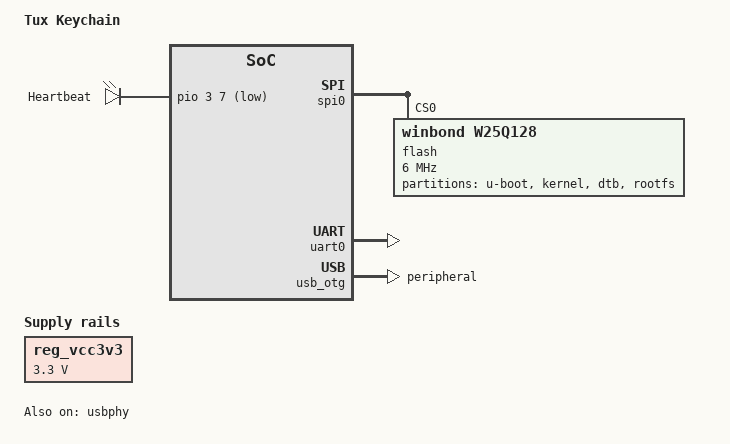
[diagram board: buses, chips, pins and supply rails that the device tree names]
/dts-v1/;
#include "suniv-f1c100s.dtsi"

#include <dt-bindings/gpio/gpio.h>

/ {
	model = "Tux Keychain";
	compatible = "licheepi,licheepi-nano", "allwinner,suniv-f1c100s",
		     "allwinner,suniv";

	aliases {
		serial0 = &uart0;
		spi0 = &spi0;
	};

	chosen {
		stdout-path = "serial0:115200n8";
	};

	reg_vcc3v3: vcc3v3 {
		compatible = "regulator-fixed";
		regulator-name = "vcc3v3";
		regulator-min-microvolt = <3300000>;
		regulator-max-microvolt = <3300000>;
	};

	leds {
		compatible = "gpio-leds";
		pinctrl-names = "default";
		pinctrl-0 = <&led_pins>;

		heartbeat {
			label = "Heartbeat";
			gpios = <&pio 3 7 GPIO_ACTIVE_LOW>;
			default-state = "on";
			linux,default-trigger = "heartbeat";
		};
	};
};

&pio {
	led_pins: led_pins {
		pins = "PD7";
		function = "gpio_out";
	};
};

&spi0 {
    pinctrl-names = "default";
    pinctrl-0 = <&spi0_pc_pins>;
    status = "okay";
    flash: w25q128@0 {
        #address-cells = <1>;
        #size-cells = <1>;
        compatible = "winbond,w25q128", "jedec,spi-nor";
        reg = <0>;
        spi-max-frequency = <6000000>;
        spi-tx-bus-width = <1>;
        spi-rx-bus-width = <1>;
        m25p,fast-read;
        status = "okay";
        partitions {
            compatible = "fixed-partitions";
            #address-cells = <1>;
            #size-cells = <1>;

            partition@0 {
                label = "u-boot";
                reg = <0x000000 0x100000>;
                //read-only;
            };

            partition@100000 {
                label = "kernel";
                reg = <0x100000 0x400000>;
                //read-only;
            };

            partition@500000 {
                label = "dtb";
                reg = <0x500000 0x10000>;
                //read-only;
            };

            partition@510000 {
                label = "rootfs";
                reg = <0x510000 0xAF0000>;
                //read-only;
            };
        };
    };
};

&otg_sram {
	status = "okay";
};

&mmc0 {
	status = "disabled";
};

&uart0 {
	pinctrl-names = "default";
	pinctrl-0 = <&uart0_pe_pins>;
	status = "okay";
};

&usb_otg {
	dr_mode = "peripheral";
	status = "okay";
};

&usbphy {
	usb0_id_det-gpios = <&pio 4 2 GPIO_ACTIVE_HIGH>; /* PE2 */
	status = "okay";
};
